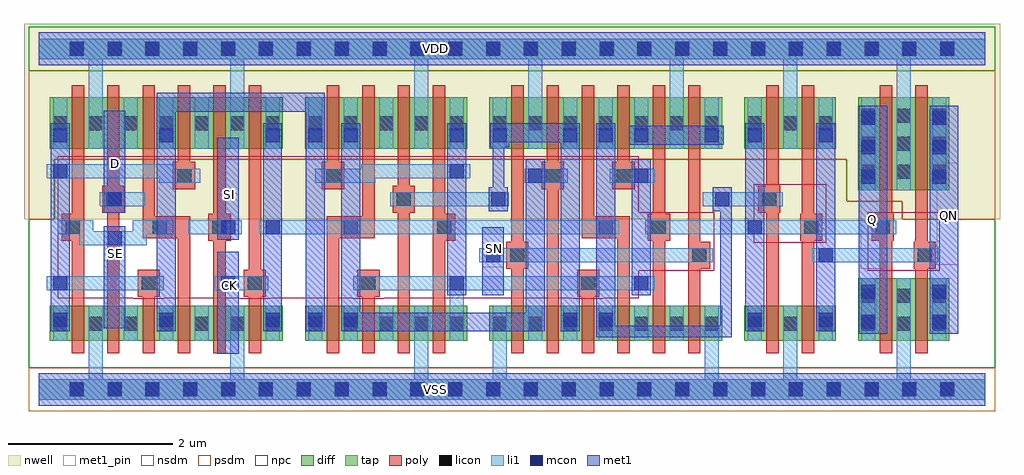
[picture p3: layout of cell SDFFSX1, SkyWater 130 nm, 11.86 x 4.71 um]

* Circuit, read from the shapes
.subckt SDFFSX1 CK D Q QN SE SI SN VDD VSS
XM1 VSS SE n1 VSS sky130_fd_pr__nfet_01v8 w=0.425 l=0.15
XM2 n2 D VSS VSS sky130_fd_pr__nfet_01v8 w=0.425 l=0.15
XM3 n3 n1 n2 VSS sky130_fd_pr__nfet_01v8 w=0.425 l=0.15
XM4 n4 SE n3 VSS sky130_fd_pr__nfet_01v8 w=0.425 l=0.15
XM5 VSS SI n4 VSS sky130_fd_pr__nfet_01v8 w=0.425 l=0.15
XM6 n5 CK VSS VSS sky130_fd_pr__nfet_01v8 w=0.425 l=0.15
XM7 n6 n5 n3 VSS sky130_fd_pr__nfet_01v8 w=0.425 l=0.15
XM8 n7 n8 n6 VSS sky130_fd_pr__nfet_01v8 w=0.425 l=0.15
XM9 VSS n9 n7 VSS sky130_fd_pr__nfet_01v8 w=0.425 l=0.15
XM10 n8 n5 VSS VSS sky130_fd_pr__nfet_01v8 w=0.425 l=0.15
XM11 n10 SN VSS VSS sky130_fd_pr__nfet_01v8 w=0.425 l=0.15
XM12 n9 n6 n10 VSS sky130_fd_pr__nfet_01v8 w=0.425 l=0.15
XM13 n11 n8 n9 VSS sky130_fd_pr__nfet_01v8 w=0.425 l=0.15
XM14 n12 n5 n11 VSS sky130_fd_pr__nfet_01v8 w=0.425 l=0.15
XM15 n13 n14 n12 VSS sky130_fd_pr__nfet_01v8 w=0.425 l=0.15
XM16 VSS SN n13 VSS sky130_fd_pr__nfet_01v8 w=0.425 l=0.15
XM17 VSS n11 n14 VSS sky130_fd_pr__nfet_01v8 w=0.425 l=0.15
XM18 n15 n14 VSS VSS sky130_fd_pr__nfet_01v8 w=0.425 l=0.15
XM19 VSS n14 Q VSS sky130_fd_pr__nfet_01v8 w=0.76 l=0.15
XM20 QN n15 VSS VSS sky130_fd_pr__nfet_01v8 w=0.76 l=0.15
XM21 VDD SE n1 VDD sky130_fd_pr__pfet_01v8 w=0.625 l=0.15
XM22 n16 D VDD VDD sky130_fd_pr__pfet_01v8 w=0.625 l=0.15
XM23 n3 SE n16 VDD sky130_fd_pr__pfet_01v8 w=0.625 l=0.15
XM24 n17 n1 n3 VDD sky130_fd_pr__pfet_01v8 w=0.625 l=0.15
XM25 VDD SI n17 VDD sky130_fd_pr__pfet_01v8 w=0.625 l=0.15
XM26 n5 CK VDD VDD sky130_fd_pr__pfet_01v8 w=0.625 l=0.15
XM27 n6 n8 n3 VDD sky130_fd_pr__pfet_01v8 w=0.625 l=0.15
XM28 n18 n5 n6 VDD sky130_fd_pr__pfet_01v8 w=0.625 l=0.15
XM29 VDD n9 n18 VDD sky130_fd_pr__pfet_01v8 w=0.625 l=0.15
XM30 n8 n5 VDD VDD sky130_fd_pr__pfet_01v8 w=0.625 l=0.15
XM31 VDD SN n9 VDD sky130_fd_pr__pfet_01v8 w=0.625 l=0.15
XM32 n9 n6 VDD VDD sky130_fd_pr__pfet_01v8 w=0.625 l=0.15
XM33 n11 n5 n9 VDD sky130_fd_pr__pfet_01v8 w=0.625 l=0.15
XM34 n19 n8 n11 VDD sky130_fd_pr__pfet_01v8 w=0.625 l=0.15
XM35 VDD n14 n19 VDD sky130_fd_pr__pfet_01v8 w=0.625 l=0.15
XM36 n19 SN VDD VDD sky130_fd_pr__pfet_01v8 w=0.625 l=0.15
XM37 VDD n11 n14 VDD sky130_fd_pr__pfet_01v8 w=0.625 l=0.15
XM38 n15 n14 VDD VDD sky130_fd_pr__pfet_01v8 w=0.625 l=0.15
XM39 VDD n14 Q VDD sky130_fd_pr__pfet_01v8 w=1.13 l=0.15
XM40 QN n15 VDD VDD sky130_fd_pr__pfet_01v8 w=1.13 l=0.15
.ends

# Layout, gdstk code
from math import pi, radians
import gdstk
lib = gdstk.Library(unit=1e-6, precision=1e-09)
def R(c, l, rs):  # rectangles x0, y0, x1, y1
    for r in rs: c.add(gdstk.rectangle(r[:2], r[2:], *l))
def A(c, l, x, y, w, h, nx, ny, dx, dy):  # array of equal rectangles
    R(c, l, [(x+i*dx, y+j*dy, x+i*dx+w, y+j*dy+h) for i in range(nx) for j in range(ny)])
def P(c, l, *ps):  # polygons
    for p in ps: c.add(gdstk.Polygon(p, *l))
nwell = (64, 20)
diff = (65, 20)
tap = (65, 44)
poly = (66, 20)
licon = (66, 44)
li1 = (67, 20)
mcon = (67, 44)
met1_pin = (68, 16)
met1 = (68, 20)
nsdm = (93, 44)
psdm = (94, 20)
npc = (95, 20)

pyl1con_c_cdns_751554744 = lib.new_cell('PYL1CON_C_CDNS_7515547447521')
R(pyl1con_c_cdns_751554744, poly, [(-0.135,-0.37,0.135,0.21)])
R(pyl1con_c_cdns_751554744, licon, [(-0.085,-0.085,0.085,0.085)])
R(pyl1con_c_cdns_751554744, npc, [(-0.185,-0.185,0.185,0.185)])

c_pyl1con_c_cdns_751554744 = lib.new_cell('PYL1CON_C_CDNS_751554744754')
R(c_pyl1con_c_cdns_751554744, poly, [(-0.135,-0.29,0.135,0.29)])
R(c_pyl1con_c_cdns_751554744, licon, [(-0.085,-0.085,0.085,0.085)])
R(c_pyl1con_c_cdns_751554744, npc, [(-0.185,-0.185,0.185,0.185)])

licondiff_c_cdns_7515547 = lib.new_cell('LICONDIFF_C_CDNS_751554744755')
R(licondiff_c_cdns_7515547, diff, [(-0.125,-0.145,0.125,0.145)])
R(licondiff_c_cdns_7515547, licon, [(-0.085,-0.085,0.085,0.085), (-0.085,-0.085,0.085,0.085)])

c_pyl1con_c_cdns_751554744_ = lib.new_cell('PYL1CON_C_CDNS_751554744751')
R(c_pyl1con_c_cdns_751554744_, poly, [(-0.135,-0.165,0.135,0.165)])
R(c_pyl1con_c_cdns_751554744_, licon, [(-0.085,-0.085,0.085,0.085)])
R(c_pyl1con_c_cdns_751554744_, npc, [(-0.185,-0.185,0.185,0.185)])

sdffsx1 = lib.new_cell('SDFFSX1')
R(sdffsx1, nwell, [(-0.18,2.07,11.68,4.445)])
R(sdffsx1, diff, [(0.135,0.59,2.965,1.015), (3.235,0.59,5.205,1.015), (5.475,0.59,8.305,1.015), (8.575,0.59,9.685,1.015), (9.955,0.59,11.065,1.35), (9.955,2.42,11.065,3.55), (0.135,2.925,2.965,3.55), (3.235,2.925,5.205,3.55), (5.475,2.925,8.305,3.55), (8.575,2.925,9.685,3.55)])
A(sdffsx1, poly, 1.26, 0.44, 0.15, 0.725, 3, 1, 2.67, 0)
R(sdffsx1, poly, [(0.4,0.44,0.55,3.7), (0.83,0.44,0.98,3.7), (2.12,0.44,2.27,3.7), (2.55,0.44,2.7,3.7), (4.36,0.44,4.51,3.7), (4.79,0.44,4.94,3.7), (5.74,0.44,5.89,3.7), (6.17,0.44,6.32,3.7), (7.46,0.44,7.61,3.7), (7.89,0.44,8.04,3.7), (8.84,0.44,8.99,3.7), (9.27,0.44,9.42,3.7), (10.22,0.44,10.37,3.7), (10.65,0.44,10.8,3.7), (1.69,2.725,1.84,3.7), (7.03,2.725,7.18,3.7), (3.5,2.745,3.65,3.7)])
P(sdffsx1, poly, [(3.5,0.44),(3.5,2.045),(3.93,2.045),(3.93,3.7),(4.08,3.7),(4.08,1.895),(3.65,1.895),(3.65,0.44)],
  [(1.69,0.44),(1.69,1.895),(1.26,1.895),(1.26,3.7),(1.41,3.7),(1.41,2.045),(1.84,2.045),(1.84,0.44)],
  [(7.03,0.44),(7.03,1.895),(6.6,1.895),(6.6,3.7),(6.75,3.7),(6.75,2.045),(7.18,2.045),(7.18,0.44)])
A(sdffsx1, licon, 0.375, -0.085, 0.17, 0.17, 24, 2, 0.46, 4.14)
A(sdffsx1, licon, 0.605, 0.715, 0.17, 0.17, 3, 2, 0.86, 2.435)
A(sdffsx1, licon, 8.615, 0.715, 0.17, 0.17, 3, 2, 0.43, 2.435)
A(sdffsx1, licon, 9.995, 0.715, 0.17, 0.17, 3, 2, 0.43, 0.34)
A(sdffsx1, licon, 9.995, 2.56, 0.17, 0.17, 3, 3, 0.43, 0.34)
A(sdffsx1, licon, 5.515, 3.15, 0.17, 0.17, 7, 1, 0.43, 0)
R(sdffsx1, licon, [(0.175,0.715,0.345,0.885), (2.755,0.715,2.925,0.885), (3.275,0.715,3.445,0.885), (3.705,0.715,3.875,0.885), (4.565,0.715,4.735,0.885), (4.995,0.715,5.165,0.885), (5.515,0.715,5.685,0.885), (6.375,0.715,6.545,0.885), (6.805,0.715,6.975,0.885), (8.095,0.715,8.265,0.885), (0.175,3.15,0.345,3.32), (2.755,3.15,2.925,3.32), (3.275,3.15,3.445,3.32), (3.705,3.15,3.875,3.32), (4.565,3.15,4.735,3.32), (4.995,3.15,5.165,3.32)])
A(sdffsx1, li1, 0.175, 0.59, 0.17, 0.425, 3, 1, 1.29, 0)
A(sdffsx1, li1, 0.175, 0.685, 0.17, 0.33, 3, 2, 1.29, 2.24)
A(sdffsx1, li1, 0.175, 2.925, 0.17, 0.625, 3, 1, 1.29, 0)
A(sdffsx1, li1, 6.375, 2.925, 0.17, 0.625, 3, 1, 0.43, 0)
A(sdffsx1, li1, 6.375, 2.925, 0.17, 0.33, 3, 1, 0.43, 0)
R(sdffsx1, li1, [(3.275,0.59,3.445,1.015), (3.705,0.59,3.875,1.015), (6.375,0.59,6.545,1.015), (6.805,0.59,6.975,1.015), (8.615,0.59,8.785,1.015), (9.475,0.59,9.645,1.015), (9.995,0.59,10.165,1.35), (10.855,0.59,11.025,1.35), (9.995,0.66,10.165,1.35), (9.995,0.66,10.165,1.35), (10.855,0.66,11.025,1.35), (10.855,0.66,11.025,1.35), (3.275,0.685,3.445,1.015), (3.705,0.685,3.875,1.015), (6.375,0.685,6.545,1.015), (6.805,0.685,6.975,1.015), (8.615,0.685,8.785,1.015), (9.475,0.685,9.645,1.015), (0.095,1.205,0.425,1.375), (2.135,1.205,2.465,1.375), (4.915,1.205,5.245,1.375), (7.155,1.205,7.485,1.375), (5.355,1.545,5.685,1.715), (9.395,1.545,9.725,1.715), (0.755,1.755,1.085,1.925), (2.135,1.885,2.465,2.055), (2.675,1.885,3.005,2.055), (8.535,1.885,8.865,2.055), (0.755,2.225,1.085,2.395), (5.46,2.225,5.71,2.395), (8.22,2.225,8.39,2.395), (9.995,2.42,10.165,3.47), (9.995,2.42,10.165,3.47), (9.995,2.42,10.165,3.55), (10.855,2.42,11.025,3.47), (10.855,2.42,11.025,3.47), (10.855,2.42,11.025,3.55), (5.905,2.515,6.155,2.685), (7.155,2.515,7.485,2.685), (0.095,2.565,0.425,2.735), (4.915,2.565,5.245,2.735), (3.275,2.925,3.445,3.55), (3.275,2.925,3.445,3.255), (3.705,2.925,3.875,3.55), (3.705,2.925,3.875,3.255), (4.995,2.925,5.165,3.55), (4.995,2.925,5.165,3.255), (5.515,2.925,5.685,3.55), (5.515,2.925,5.685,3.255), (8.095,2.925,8.265,3.55), (8.095,2.925,8.265,3.255), (8.615,2.925,8.785,3.55), (8.615,2.925,8.785,3.255), (9.475,2.925,9.645,3.55), (9.475,2.925,9.645,3.255)])
P(sdffsx1, li1, [(0.49,1.755),(0.49,1.885),(0.23,1.885),(0.23,2.055),(0.66,2.055),(0.66,1.925),(1.14,1.925),(1.14,2.055),(1.635,2.055),(1.635,1.885),(1.31,1.885),(1.31,1.755)],
  [(1.465,2.515),(1.465,2.565),(0.095,2.565),(0.095,2.735),(1.635,2.735),(1.635,2.685),(1.96,2.685),(1.96,2.515)],
  [(4.995,0.59),(4.995,1.205),(3.82,1.205),(3.82,1.375),(7.485,1.375),(7.485,1.205),(5.165,1.205),(5.165,0.59)],
  [(3.36,2.515),(3.36,2.685),(3.92,2.685),(3.92,2.735),(5.245,2.735),(5.245,2.565),(4.09,2.565),(4.09,2.515)],
  [(10.425,2.42),(10.425,4.015),(9.215,4.015),(9.215,2.925),(9.045,2.925),(9.045,4.015),(7.835,4.015),(7.835,2.925),(7.665,2.925),(7.665,4.015),(6.115,4.015),(6.115,2.925),(5.945,2.925),(5.945,4.015),(4.735,4.015),(4.735,2.925),(4.565,2.925),(4.565,4.015),(2.495,4.015),(2.495,2.925),(2.325,2.925),(2.325,4.015),(0.775,4.015),(0.775,2.925),(0.605,2.925),(0.605,4.015),(0,4.015),(0,4.265),(11.5,4.265),(11.5,4.015),(10.595,4.015),(10.595,2.42)],
  [(0,-0.125),(0,0.125),(0.605,0.125),(0.605,1.015),(0.775,1.015),(0.775,0.125),(2.325,0.125),(2.325,1.015),(2.495,1.015),(2.495,0.125),(4.565,0.125),(4.565,1.015),(4.735,1.015),(4.735,0.125),(5.515,0.125),(5.515,1.015),(5.685,1.015),(5.685,0.125),(8.095,0.125),(8.095,1.015),(8.265,1.015),(8.265,0.125),(9.045,0.125),(9.045,1.015),(9.215,1.015),(9.215,0.125),(10.425,0.125),(10.425,1.35),(10.595,1.35),(10.595,0.125),(11.5,0.125),(11.5,-0.125)])
A(sdffsx1, mcon, 0.375, -0.085, 0.17, 0.17, 24, 2, 0.46, 4.14)
A(sdffsx1, mcon, 0.175, 0.765, 0.17, 0.17, 3, 2, 1.29, 2.24)
A(sdffsx1, mcon, 8.615, 0.765, 0.17, 0.17, 1, 3, 0, 1.12)
A(sdffsx1, mcon, 6.375, 3.005, 0.17, 0.17, 3, 1, 0.43, 0)
R(sdffsx1, mcon, [(9.995,0.74,10.165,0.91), (9.995,0.74,10.165,0.91), (10.855,0.74,11.025,0.91), (10.855,0.74,11.025,0.91), (3.275,0.765,3.445,0.935), (3.705,0.765,3.875,0.935), (6.375,0.765,6.545,0.935), (6.805,0.765,6.975,0.935), (9.475,0.765,9.645,0.935), (9.995,1.1,10.165,1.27), (9.995,1.1,10.165,1.27), (10.855,1.1,11.025,1.27), (10.855,1.1,11.025,1.27), (0.175,1.205,0.345,1.375), (2.215,1.205,2.385,1.375), (4.995,1.205,5.165,1.375), (7.235,1.205,7.405,1.375), (5.435,1.545,5.605,1.715), (9.475,1.545,9.645,1.715), (0.835,1.755,1.005,1.925), (2.215,1.885,2.385,2.055), (2.755,1.885,2.925,2.055), (0.835,2.225,1.005,2.395), (5.5,2.225,5.67,2.395), (8.22,2.225,8.39,2.395), (9.995,2.5,10.165,2.67), (9.995,2.5,10.165,2.67), (10.855,2.5,11.025,2.67), (10.855,2.5,11.025,2.67), (5.945,2.515,6.115,2.685), (7.235,2.515,7.405,2.685), (0.175,2.565,0.345,2.735), (4.995,2.565,5.165,2.735), (9.995,2.86,10.165,3.03), (9.995,2.86,10.165,3.03), (10.855,2.86,11.025,3.03), (10.855,2.86,11.025,3.03), (3.275,3.005,3.445,3.175), (3.705,3.005,3.875,3.175), (4.995,3.005,5.165,3.175), (5.515,3.005,5.685,3.175), (8.095,3.005,8.265,3.175), (9.475,3.005,9.645,3.175), (9.995,3.22,10.165,3.39), (9.995,3.22,10.165,3.39), (10.855,3.22,11.025,3.39), (10.855,3.22,11.025,3.39)])
R(sdffsx1, met1_pin, [(2.17,0.435,2.43,1.675), (0.79,0.745,1.05,1.985), (9.99,1.465,10.25,2.705), (5.39,1.485,5.65,1.97), (10.91,1.515,11.17,2.755), (2.17,1.82,2.43,3.06), (0.79,2.15,1.05,3.39)])
A(sdffsx1, met1, 0.145, 0.705, 0.23, 0.29, 3, 2, 1.29, 2.24)
A(sdffsx1, met1, 8.585, 0.705, 0.23, 0.29, 1, 3, 0, 1.12)
R(sdffsx1, met1, [(10.825,0.675,11.17,3.45), (9.965,0.68,10.31,3.45), (9.965,0.68,10.195,1.33), (9.965,0.68,10.195,1.33), (10.825,0.68,11.055,1.33), (10.825,0.68,11.055,1.33), (3.245,0.705,3.475,0.995), (3.675,0.705,3.905,0.995), (6.345,0.705,6.575,0.995), (6.775,0.705,7.005,0.995), (9.445,0.705,9.675,0.995), (0.145,1.145,0.375,1.435), (2.185,1.145,2.415,1.435), (4.965,1.145,5.195,1.435), (7.205,1.145,7.435,1.435), (5.405,1.485,5.635,1.775), (9.445,1.485,9.675,1.775), (0.805,1.695,1.035,1.985), (2.185,1.825,2.415,2.115), (2.725,1.825,2.955,2.115), (0.805,2.165,1.035,2.455), (5.47,2.165,5.7,2.455), (8.19,2.165,8.42,2.455), (9.965,2.44,10.195,3.45), (9.965,2.44,10.195,3.45), (10.825,2.44,11.055,3.45), (10.825,2.44,11.055,3.45), (5.915,2.455,6.145,2.745), (7.205,2.455,7.435,2.745), (0.145,2.505,0.375,2.795), (4.965,2.505,5.195,2.795), (3.245,2.945,3.475,3.235), (3.675,2.945,3.905,3.235), (4.965,2.945,5.195,3.235), (5.485,2.945,5.715,3.235), (6.345,2.945,6.575,3.235), (6.775,2.945,7.005,3.235), (9.445,2.945,9.675,3.235), (7.175,3.005,7.465,3.175), (8.035,3.005,8.325,3.175)])
P(sdffsx1, met1, [(6.345,0.705),(6.345,3.005),(5.655,3.005),(5.655,2.31),(5.515,2.31),(5.515,3.005),(5.485,3.005),(5.485,3.235),(6.575,3.235),(6.575,0.705)],
  [(6.775,0.635),(6.775,3.235),(7.005,3.235),(7.005,0.775),(8.28,0.775),(8.28,2.31),(8.42,2.31),(8.42,0.635)])
R(sdffsx1, nsdm, [(-0.125,3.875,11.625,4.405)])
P(sdffsx1, nsdm, [(-0.125,0.265),(-0.125,2.07),(0.19,2.07),(0.19,2.795),(9.815,2.795),(9.815,2.29),(10.495,2.29),(10.495,2.07),(11.625,2.07),(11.625,0.265)])
R(sdffsx1, psdm, [(-0.125,-0.265,11.625,0.265)])
P(sdffsx1, psdm, [(-0.125,2.07),(-0.125,3.875),(11.625,3.875),(11.625,2.07),(10.495,2.07),(10.495,2.29),(9.815,2.29),(9.815,2.795),(0.19,2.795),(0.19,2.07)])
R(sdffsx1, npc, [(10.07,1.445,10.95,2.155), (8.69,1.785,9.57,2.495)])
P(sdffsx1, npc, [(0.23,1.11),(0.23,2.835),(7.29,2.835),(7.29,2.155),(8.21,2.155),(8.21,1.445),(7.29,1.445),(7.29,1.11)])
sdffsx1.add(gdstk.FlexPath([(5.905,2.6),(6.43,2.6)], 0.17, ends="flush", simple_path=True, layer=67, datatype=20))  # li1
sdffsx1.add(gdstk.FlexPath([(6.94,2.6),(7.485,2.6)], 0.17, ends="flush", simple_path=True, layer=67, datatype=20))  # li1
sdffsx1.add(gdstk.FlexPath([(0.095,1.29),(1.52,1.29)], 0.17, ends="flush", simple_path=True, layer=67, datatype=20))  # li1
sdffsx1.add(gdstk.FlexPath([(2.675,1.97),(7.055,1.97)], 0.17, ends="flush", simple_path=True, layer=67, datatype=20))  # li1
sdffsx1.add(gdstk.FlexPath([(9.395,1.63),(10.93,1.63)], 0.17, ends="flush", simple_path=True, layer=67, datatype=20))  # li1
sdffsx1.add(gdstk.FlexPath([(7.37,1.97),(10.42,1.97)], 0.17, ends="flush", simple_path=True, layer=67, datatype=20))  # li1
sdffsx1.add(gdstk.FlexPath([(8.07,2.31),(9.04,2.31)], 0.17, ends="flush", simple_path=True, layer=67, datatype=20))  # li1
sdffsx1.add(gdstk.FlexPath([(1.12,2.925),(1.12,3.55)], 0.17, ends="flush", simple_path=True, layer=67, datatype=20))  # li1
sdffsx1.add(gdstk.FlexPath([(1.98,2.925),(1.98,3.55)], 0.17, ends="flush", simple_path=True, layer=67, datatype=20))  # li1
sdffsx1.add(gdstk.FlexPath([(4.22,2.925),(4.22,3.55)], 0.17, ends="flush", simple_path=True, layer=67, datatype=20))  # li1
sdffsx1.add(gdstk.FlexPath([(5.595,1.63),(8.19,1.63)], 0.17, ends="flush", simple_path=True, layer=67, datatype=20))  # li1
sdffsx1.add(gdstk.FlexPath([(1.12,0.59),(1.12,1.015)], 0.17, ends="flush", simple_path=True, layer=67, datatype=20))  # li1
sdffsx1.add(gdstk.FlexPath([(1.98,0.59),(1.98,1.015)], 0.17, ends="flush", simple_path=True, layer=67, datatype=20))  # li1
sdffsx1.add(gdstk.FlexPath([(4.22,0.59),(4.22,1.015)], 0.17, ends="flush", simple_path=True, layer=67, datatype=20))  # li1
sdffsx1.add(gdstk.FlexPath([(6.03,0.59),(6.03,1.015)], 0.17, ends="flush", simple_path=True, layer=67, datatype=20))  # li1
sdffsx1.add(gdstk.FlexPath([(7.32,0.59),(7.32,1.015)], 0.17, ends="flush", simple_path=True, layer=67, datatype=20))  # li1
sdffsx1.add(gdstk.FlexPath([(7.75,0.59),(7.75,1.015)], 0.17, ends="flush", simple_path=True, layer=67, datatype=20))  # li1
sdffsx1.add(gdstk.FlexPath([(2.79,1.29),(2.245,1.29)], 0.17, ends="flush", simple_path=True, layer=67, datatype=20))  # li1
sdffsx1.add(gdstk.FlexPath([(2.36,1.97),(1.815,1.97)], 0.17, ends="flush", simple_path=True, layer=67, datatype=20))  # li1
sdffsx1.add(gdstk.FlexPath([(1.285,2.31),(0.74,2.31)], 0.17, ends="flush", simple_path=True, layer=67, datatype=20))  # li1
sdffsx1.add(gdstk.FlexPath([(5.63,2.31),(4.27,2.31)], 0.17, ends="flush", simple_path=True, layer=67, datatype=20))  # li1
sdffsx1.add(gdstk.FlexPath([(7.32,1.145),(7.32,2.795)], 0.23, ends="flush", simple_path=True, layer=68, datatype=20))  # met1
sdffsx1.add(gdstk.FlexPath([(1.55,0.705),(1.55,3.49),(3.36,3.49),(3.36,0.705)], 0.23, ends="flush", simple_path=True, layer=68, datatype=20))  # met1
sdffsx1.add(gdstk.FlexPath([(6.03,2.795),(6.03,0.82),(3.79,0.82),(3.79,3.235)], 0.23, ends="flush", simple_path=True, layer=68, datatype=20))  # met1
sdffsx1.add(gdstk.FlexPath([(5.52,1.145),(5.52,1.97)], 0.26, ends="flush", simple_path=True, layer=68, datatype=20))  # met1
sdffsx1.add(gdstk.FlexPath([(0.26,0.705),(0.26,3.235)], 0.23, ends="flush", simple_path=True, layer=68, datatype=20))  # met1
sdffsx1.add(gdstk.FlexPath([(2.84,0.705),(2.84,3.235)], 0.23, ends="flush", simple_path=True, layer=68, datatype=20))  # met1
sdffsx1.add(gdstk.FlexPath([(8.7,0.705),(8.7,3.235)], 0.23, ends="flush", simple_path=True, layer=68, datatype=20))  # met1
sdffsx1.add(gdstk.FlexPath([(9.56,0.705),(9.56,3.235)], 0.23, ends="flush", simple_path=True, layer=68, datatype=20))  # met1
sdffsx1.add(gdstk.FlexPath([(7.175,3.09),(8.325,3.09)], 0.23, ends="flush", simple_path=True, layer=68, datatype=20))  # met1
sdffsx1.add(gdstk.FlexPath([(2.3,0.435),(2.3,1.675)], 0.26, ends="flush", simple_path=True, layer=68, datatype=20))  # met1
sdffsx1.add(gdstk.FlexPath([(0.92,0.745),(0.92,1.985)], 0.26, ends="flush", simple_path=True, layer=68, datatype=20))  # met1
sdffsx1.add(gdstk.FlexPath([(2.3,1.82),(2.3,3.06)], 0.26, ends="flush", simple_path=True, layer=68, datatype=20))  # met1
sdffsx1.add(gdstk.FlexPath([(0.92,2.15),(0.92,3.39)], 0.26, ends="flush", simple_path=True, layer=68, datatype=20))  # met1
sdffsx1.add(gdstk.FlexPath([(5.08,1.145),(5.08,3.235)], 0.23, ends="flush", simple_path=True, layer=68, datatype=20))  # met1
sdffsx1.add(gdstk.FlexPath([(0,0),(11.5,0)], 0.4, ends="flush", simple_path=True, layer=68, datatype=20))  # met1
sdffsx1.add(gdstk.FlexPath([(0,4.14),(11.5,4.14)], 0.4, ends="flush", simple_path=True, layer=68, datatype=20))  # met1
sdffsx1.add(gdstk.FlexPath([(0,0),(11.5,0)], 0.25, ends="flush", simple_path=True, layer=65, datatype=44))  # tap
sdffsx1.add(gdstk.FlexPath([(0,4.14),(11.5,4.14)], 0.25, ends="flush", simple_path=True, layer=65, datatype=44))  # tap
sdffsx1.add(gdstk.FlexPath([(0,0),(11.5,0)], 0.4, ends="flush", simple_path=True, layer=68, datatype=16))  # met1_pin
sdffsx1.add(gdstk.FlexPath([(0,4.14),(11.5,4.14)], 0.4, ends="flush", simple_path=True, layer=68, datatype=16))  # met1_pin
sdffsx1.add(gdstk.Reference(pyl1con_c_cdns_751554744, (1.47,1.97), rotation=pi/2))
sdffsx1.add(gdstk.Reference(c_pyl1con_c_cdns_751554744, (6.89,1.97), rotation=pi/2))
sdffsx1.add(gdstk.Reference(licondiff_c_cdns_7515547, (6.03,0.8), rotation=pi, x_reflection=True))
sdffsx1.add(gdstk.Reference(c_pyl1con_c_cdns_751554744, (3.79,1.97), rotation=pi/2, x_reflection=True))
sdffsx1.add(gdstk.Reference(licondiff_c_cdns_7515547, (1.12,0.8)))
sdffsx1.add(gdstk.Reference(licondiff_c_cdns_7515547, (1.98,0.8)))
sdffsx1.add(gdstk.Reference(licondiff_c_cdns_7515547, (4.22,0.8)))
sdffsx1.add(gdstk.Reference(licondiff_c_cdns_7515547, (7.32,0.8)))
sdffsx1.add(gdstk.Reference(licondiff_c_cdns_7515547, (7.75,0.8)))
sdffsx1.add(gdstk.Reference(licondiff_c_cdns_7515547, (1.12,3.235)))
sdffsx1.add(gdstk.Reference(licondiff_c_cdns_7515547, (1.98,3.235)))
sdffsx1.add(gdstk.Reference(licondiff_c_cdns_7515547, (4.22,3.235)))
sdffsx1.add(gdstk.Reference(c_pyl1con_c_cdns_751554744_, (4.005,1.29), rotation=pi))
sdffsx1.add(gdstk.Reference(c_pyl1con_c_cdns_751554744_, (4.925,1.97), rotation=pi))
sdffsx1.add(gdstk.Reference(c_pyl1con_c_cdns_751554744_, (1.765,2.6), rotation=pi))
sdffsx1.add(gdstk.Reference(c_pyl1con_c_cdns_751554744_, (6.245,2.6), rotation=pi))
sdffsx1.add(gdstk.Reference(c_pyl1con_c_cdns_751554744_, (7.105,2.6), rotation=pi))
sdffsx1.add(gdstk.Reference(c_pyl1con_c_cdns_751554744_, (5.815,1.63)))
sdffsx1.add(gdstk.Reference(c_pyl1con_c_cdns_751554744_, (8.025,1.63)))
sdffsx1.add(gdstk.Reference(c_pyl1con_c_cdns_751554744_, (0.415,1.97)))
sdffsx1.add(gdstk.Reference(c_pyl1con_c_cdns_751554744_, (7.535,1.97)))
sdffsx1.add(gdstk.Reference(c_pyl1con_c_cdns_751554744_, (0.905,2.31)))
sdffsx1.add(gdstk.Reference(c_pyl1con_c_cdns_751554744_, (4.435,2.31)))
sdffsx1.add(gdstk.Reference(c_pyl1con_c_cdns_751554744_, (1.335,1.29), x_reflection=True))
sdffsx1.add(gdstk.Reference(c_pyl1con_c_cdns_751554744_, (2.625,1.29), x_reflection=True))
sdffsx1.add(gdstk.Reference(c_pyl1con_c_cdns_751554744_, (6.675,1.29), x_reflection=True))
sdffsx1.add(gdstk.Reference(c_pyl1con_c_cdns_751554744_, (2.195,1.97), x_reflection=True))
sdffsx1.add(gdstk.Reference(c_pyl1con_c_cdns_751554744_, (9.385,1.97), x_reflection=True))
sdffsx1.add(gdstk.Reference(c_pyl1con_c_cdns_751554744_, (3.575,2.6), x_reflection=True))
sdffsx1.add(gdstk.Reference(c_pyl1con_c_cdns_751554744_, (10.765,1.63), rotation=pi, x_reflection=True))
sdffsx1.add(gdstk.Reference(c_pyl1con_c_cdns_751554744_, (10.255,1.97), rotation=pi, x_reflection=True))
sdffsx1.add(gdstk.Reference(c_pyl1con_c_cdns_751554744_, (8.875,2.31), rotation=pi, x_reflection=True))
sdffsx1.add(gdstk.Label('SN', (5.535,1.71), layer=68, texttype=5))
sdffsx1.add(gdstk.Label('VDD', (4.825,4.145), layer=68, texttype=5))
sdffsx1.add(gdstk.Label('QN', (11.055,2.11), layer=68, texttype=5))
sdffsx1.add(gdstk.Label('Q', (10.135,2.06), layer=68, texttype=5))
sdffsx1.add(gdstk.Label('VSS', (4.825,0.005), layer=68, texttype=5))
sdffsx1.add(gdstk.Label('D', (0.935,2.745), layer=68, texttype=5))
sdffsx1.add(gdstk.Label('CK', (2.315,1.265), layer=68, texttype=5))
sdffsx1.add(gdstk.Label('SI', (2.315,2.375), layer=68, texttype=5))
sdffsx1.add(gdstk.Label('SE', (0.935,1.65), layer=68, texttype=5))

lib.write_gds('SDFFSX1.gds')
